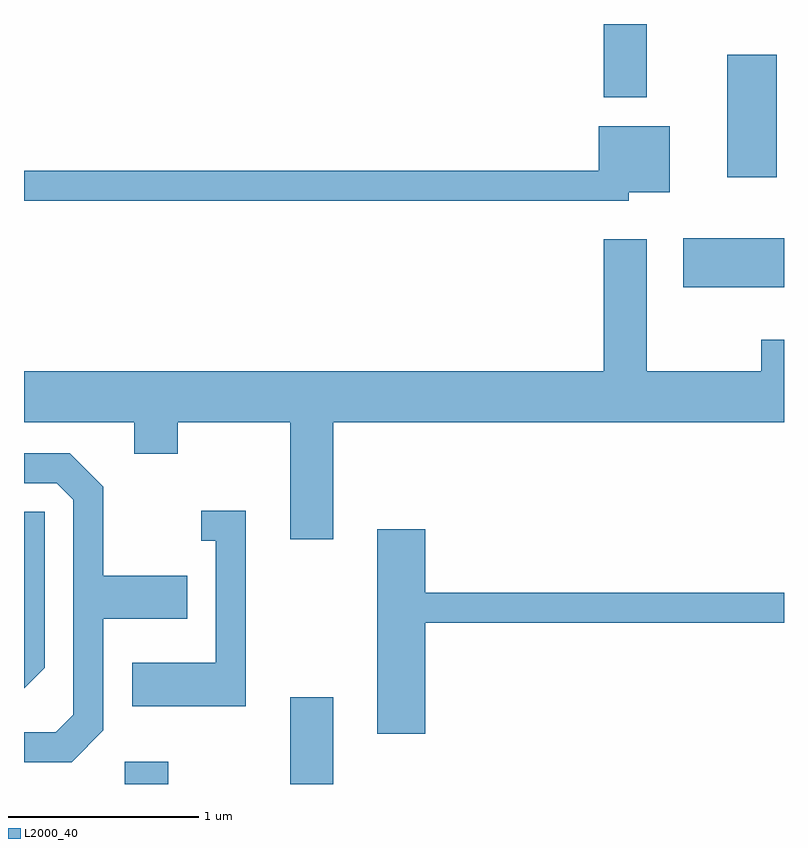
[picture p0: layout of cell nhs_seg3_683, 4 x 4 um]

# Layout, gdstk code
import gdstk
lib = gdstk.Library(unit=1e-6, precision=1e-09)
def R(c, l, rs):  # rectangles x0, y0, x1, y1
    for r in rs: c.add(gdstk.rectangle(r[:2], r[2:], *l))
def P(c, l, *ps):  # polygons
    for p in ps: c.add(gdstk.Polygon(p, *l))
L2000_40 = (2000, 40)

nhs_seg3_683 = lib.new_cell('nhs_seg3_683')
R(nhs_seg3_683, L2000_40, [(206.141,1121.892,206.369,1122.009), (207.011,1121.892,207.239,1122.349), (209.081,1124.506,209.611,1124.764), (209.311,1125.086,209.574,1125.729), (208.661,1125.506,208.889,1125.892)])
P(nhs_seg3_683, L2000_40, [(208.794,1125.006),(209.009,1125.006),(209.009,1125.354),(208.636,1125.354),(208.636,1125.119),(205.611,1125.119),(205.611,1124.961),(208.794,1124.961)],
  [(207.239,1123.796),(209.611,1123.796),(209.611,1124.229),(209.491,1124.229),(209.491,1124.064),(208.889,1124.064),(208.889,1124.759),(208.661,1124.759),(208.661,1124.064),(205.611,1124.064),(205.611,1123.796),(206.191,1123.796),(206.191,1123.631),(206.419,1123.631),(206.419,1123.796),(207.011,1123.796),(207.011,1123.181),(207.239,1123.181)],
  [(205.868,1122.013),(206.029,1122.174),(206.029,1122.761),(206.469,1122.761),(206.469,1122.989),(206.029,1122.989),(206.029,1123.457),(205.852,1123.634),(205.611,1123.634),(205.611,1123.476),(205.784,1123.476),(205.871,1123.389),(205.871,1122.257),(205.779,1122.164),(205.611,1122.164),(205.611,1122.006),(205.862,1122.006)],
  [(206.779,1123.329),(206.543,1123.329),(206.543,1123.171),(206.621,1123.171),(206.621,1122.529),(206.181,1122.529),(206.181,1122.301),(206.779,1122.301)],
  [(205.719,1122.504),(205.719,1123.324),(205.611,1123.324),(205.611,1122.395)],
  [(207.724,1122.741),(209.611,1122.741),(209.611,1122.899),(207.724,1122.899),(207.724,1123.234),(207.471,1123.234),(207.471,1122.156),(207.724,1122.156)])

lib.write_gds('nhs_seg3_683.gds')
